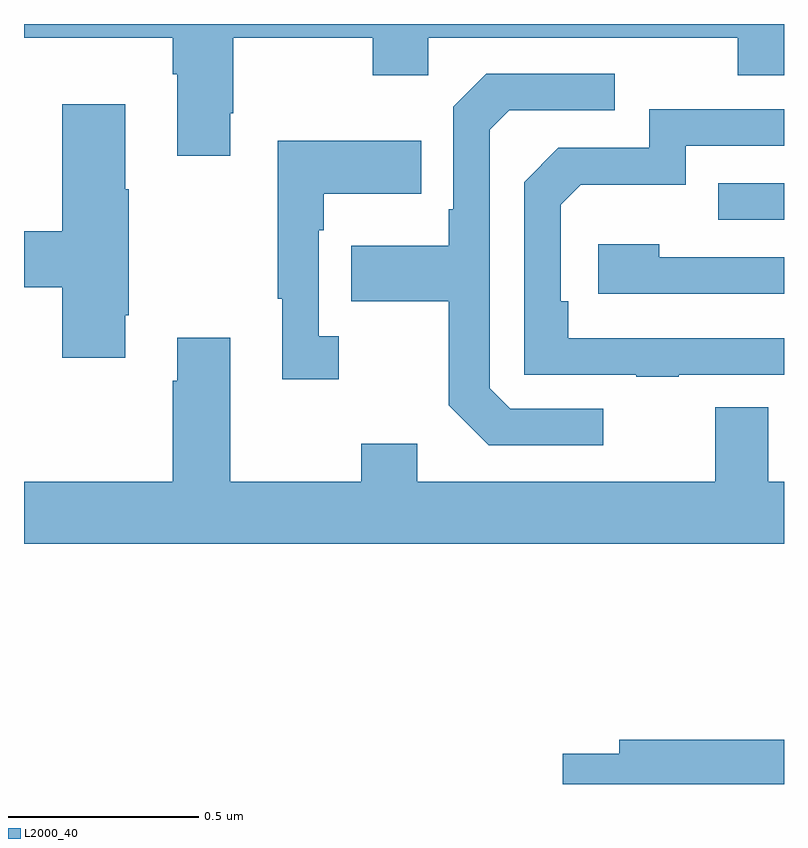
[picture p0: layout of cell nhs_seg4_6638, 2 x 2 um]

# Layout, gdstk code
import gdstk
lib = gdstk.Library(unit=1e-6, precision=1e-09)
def R(c, l, rs):  # rectangles x0, y0, x1, y1
    for r in rs: c.add(gdstk.rectangle(r[:2], r[2:], *l))
def P(c, l, *ps):  # polygons
    for p in ps: c.add(gdstk.Polygon(p, *l))
L2000_40 = (2000, 40)

nhs_seg4_6638 = lib.new_cell('nhs_seg4_6638')
R(nhs_seg4_6638, L2000_40, [(194.827,752.385,195,752.481)])
P(nhs_seg4_6638, L2000_40, [(193.543,752.665),(193.551,752.665),(193.551,752.864),(193.918,752.864),(193.918,752.765),(194.064,752.765),(194.064,752.864),(194.878,752.864),(194.878,752.765),(195,752.765),(195,752.9),(193,752.9),(193,752.864),(193.391,752.864),(193.391,752.768),(193.403,752.768),(193.403,752.553),(193.543,752.553)],
  [(194.524,751.887),(194.28,751.887),(194.226,751.941),(194.226,752.622),(194.277,752.673),(194.554,752.673),(194.554,752.769),(194.217,752.769),(194.13,752.682),(194.13,752.413),(194.118,752.413),(194.118,752.317),(193.861,752.317),(193.861,752.17),(194.118,752.17),(194.118,751.897),(194.223,751.791),(194.524,751.791)],
  [(193.267,752.134),(193.275,752.134),(193.275,752.465),(193.267,752.465),(193.267,752.689),(193.1,752.689),(193.1,752.354),(193,752.354),(193,752.207),(193.1,752.207),(193.1,752.022),(193.267,752.022)],
  [(194.723,751.977),(195,751.977),(195,752.073),(194.432,752.073),(194.432,752.17),(194.412,752.17),(194.412,752.424),(194.465,752.477),(194.742,752.477),(194.742,752.58),(195,752.58),(195,752.676),(194.646,752.676),(194.646,752.574),(194.406,752.574),(194.316,752.484),(194.316,751.977),(194.611,751.977),(194.611,751.972),(194.723,751.972)],
  [(193.828,752.078),(193.776,752.078),(193.776,752.357),(193.789,752.357),(193.789,752.453),(194.045,752.453),(194.045,752.593),(193.668,752.593),(193.668,752.177),(193.679,752.177),(193.679,751.965),(193.828,751.965)],
  [(195,752.286),(194.672,752.286),(194.672,752.32),(194.511,752.32),(194.511,752.19),(195,752.19)],
  [(195,751.696),(194.959,751.696),(194.959,751.891),(194.819,751.891),(194.819,751.696),(194.035,751.696),(194.035,751.795),(193.888,751.795),(193.888,751.696),(193.543,751.696),(193.543,752.074),(193.403,752.074),(193.403,751.961),(193.391,751.961),(193.391,751.696),(193,751.696),(193,751.532),(195,751.532)],
  [(195,751.016),(194.567,751.016),(194.567,750.98),(194.418,750.98),(194.418,750.9),(195,750.9)])

lib.write_gds('nhs_seg4_6638.gds')
